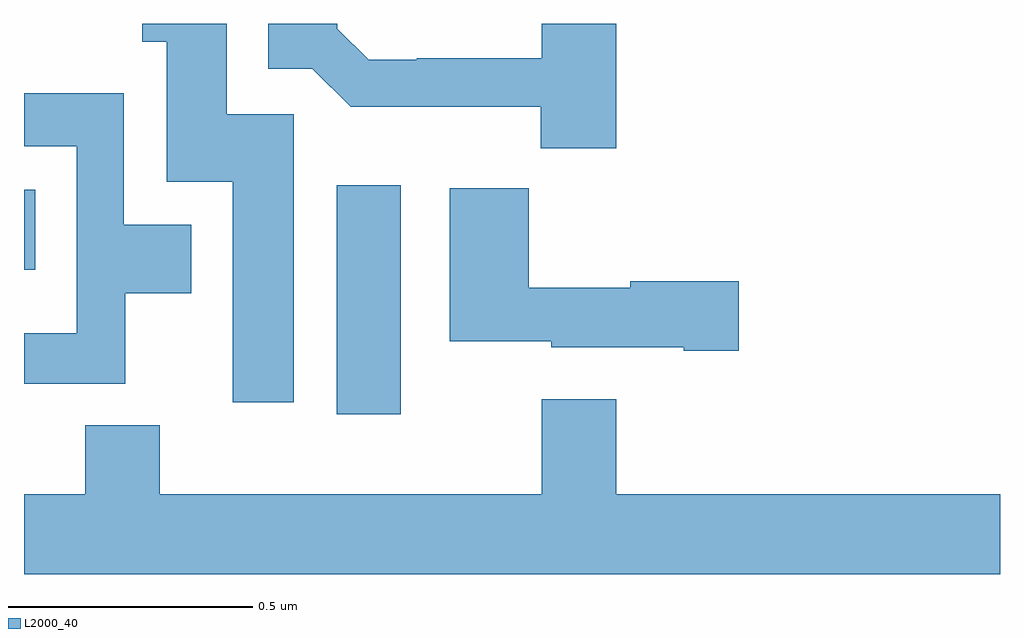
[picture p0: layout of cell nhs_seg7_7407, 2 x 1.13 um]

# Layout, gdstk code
import gdstk
lib = gdstk.Library(unit=1e-6, precision=1e-09)
def R(c, l, rs):  # rectangles x0, y0, x1, y1
    for r in rs: c.add(gdstk.rectangle(r[:2], r[2:], *l))
def P(c, l, *ps):  # polygons
    for p in ps: c.add(gdstk.Polygon(p, *l))
L2000_40 = (2000, 40)

nhs_seg7_7407 = lib.new_cell('nhs_seg7_7407')
R(nhs_seg7_7407, L2000_40, [(210.641,1078.2,210.772,1078.669), (210,1078.496,210.023,1078.66)])
P(nhs_seg7_7407, L2000_40, [(210.553,1078.815),(210.415,1078.815),(210.415,1079),(210.242,1079),(210.242,1078.963),(210.293,1078.963),(210.293,1078.676),(210.428,1078.676),(210.428,1078.224),(210.553,1078.224)],
  [(211.214,1079),(211.061,1079),(211.061,1078.929),(210.805,1078.929),(210.805,1078.926),(210.706,1078.926),(210.642,1078.99),(210.642,1079),(210.5,1079),(210.5,1078.908),(210.591,1078.908),(210.67,1078.83),(211.059,1078.83),(211.059,1078.745),(211.214,1078.745)],
  [(210.207,1078.448),(210.343,1078.448),(210.343,1078.588),(210.204,1078.588),(210.204,1078.858),(210,1078.858),(210,1078.749),(210.108,1078.749),(210.108,1078.366),(210,1078.366),(210,1078.262),(210.207,1078.262)],
  [(211.465,1078.472),(211.242,1078.472),(211.242,1078.459),(211.034,1078.459),(211.034,1078.663),(210.872,1078.663),(210.872,1078.349),(211.08,1078.349),(211.08,1078.337),(211.352,1078.337),(211.352,1078.33),(211.465,1078.33)],
  [(212,1078.036),(211.214,1078.036),(211.214,1078.231),(211.061,1078.231),(211.061,1078.036),(210.278,1078.036),(210.278,1078.177),(210.125,1078.177),(210.125,1078.036),(210,1078.036),(210,1077.872),(212,1077.872)])

lib.write_gds('nhs_seg7_7407.gds')
